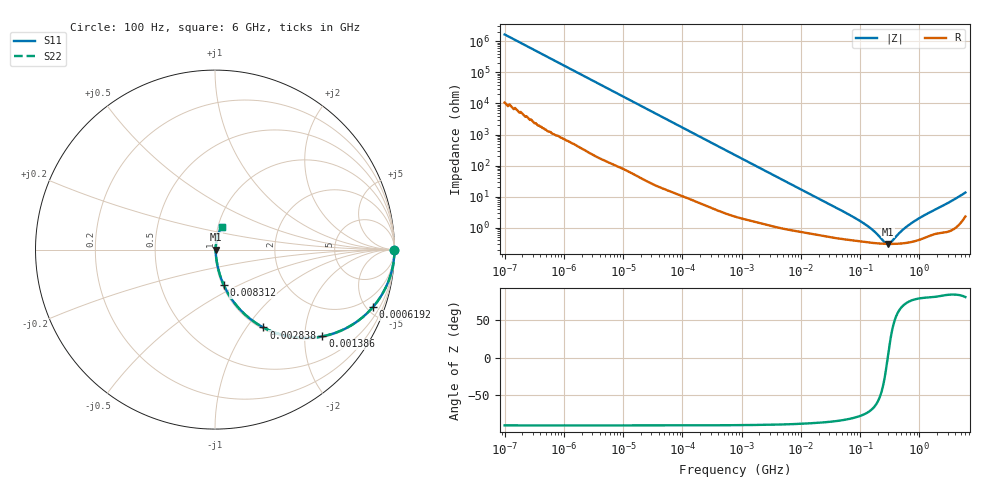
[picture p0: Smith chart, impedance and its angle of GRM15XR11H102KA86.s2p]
!Murata Part Number: GRM15XR11H102KA86
!These Parameters are Measured in Series Mode Connection
!Data Generated on Mar 30, 2021
!  o--ll--o
!Port1  Port2
!  o------o
!Operation Temp=25[degC], DC Bias Voltage=0[V]
!Freq. Start=100[Hz] Stop=6[GHz] 401[Steps]
# Hz S RI R 50
!Freq.(Hz) S11(Real) S11(Imag) S21(Real) S21(Imag) S12(Real) S12(Imag) S22(Real) S22(Imag)
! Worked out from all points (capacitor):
!   401 points, 100 Hz to 6 GHz, reference 50 ohm
!   read as one part in series: C = 967 pF near 109 Hz
!   lowest |Z| = 306 mohm at 298.8 MHz (marker M1)
!   series resonance near 293.1 MHz, so ESL is about 310 pH
!   S11 on the Smith chart (normalised r, x): 100 Hz: open; 619.2 kHz: 1.05, -5.46; 1.386 MHz: 1.03, -2.45; 2.838 MHz: 1.02, -1.20; 8.312 MHz: 1.02, -0.41; 6 GHz: 1.05, +0.27
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100  1 -6.09e-05  4e-07 6.09e-05  4e-07 6.09e-05  1 -6.09e-05
179  1 -0.000109  6e-07 0.000109  6e-07 0.000109  1 -0.000109
2008  1 -0.00121  6.6e-06 0.00121  6.6e-06 0.00121  1 -0.00121
40335  0.9993 -0.0241  0.000701 0.0241  0.000701 0.0241  0.9993 -0.0241
193316  0.9862 -0.1133  0.0138 0.1133  0.0138 0.1133  0.9862 -0.1133
378399  0.9505 -0.2129  0.0495 0.2129  0.0495 0.2129  0.9505 -0.2129
619225  0.8792 -0.3211  0.1208 0.3211  0.1208 0.3211  0.8792 -0.3211
774597  0.824 -0.3756  0.176 0.3756  0.176 0.3756  0.824 -0.3756
1386327  0.5983 -0.4833  0.4017 0.4833  0.4017 0.4833  0.5983 -0.4833
1983483  0.425 -0.486  0.575 0.486  0.575 0.486  0.425 -0.486
2837864  0.2695 -0.4337  0.7305 0.4337  0.7305 0.4337  0.2695 -0.4337
4643984  0.1262 -0.3192  0.8738 0.3192  0.8738 0.3192  0.1262 -0.3192
8311524  0.0481 -0.1958  0.9519 0.1958  0.9519 0.1958  0.0481 -0.1958
1.555665e7  0.0184 -0.109  0.9816 0.109  0.9816 0.109  0.0184 -0.109
1.066761e8  0.00383 -0.0149  0.9962 0.0149  0.9962 0.0149  0.00383 -0.0149
1.669249e8  0.00332 -0.00753  0.9967 0.00753  0.9967 0.00753  0.00332 -0.00753
2.61201e8  0.00306 -0.00148  0.9969 0.00148  0.9969 0.00148  0.00306 -0.00148
2.987521e8  0.00304 0.000248  0.997 -0.000248  0.997 -0.000248  0.00304 0.000248
3.124326e8  0.00304 0.000826  0.997 -0.000826  0.997 -0.000826  0.00304 0.000826
5.346885e8  0.00324 0.00825  0.9968 -0.00825  0.9968 -0.00825  0.00324 0.00825
8.000355e8  0.00386 0.0152  0.9961 -0.0152  0.9961 -0.0152  0.00386 0.0152
6e9  0.0392 0.1261  0.9608 -0.1261  0.9608 -0.1261  0.0392 0.1261
